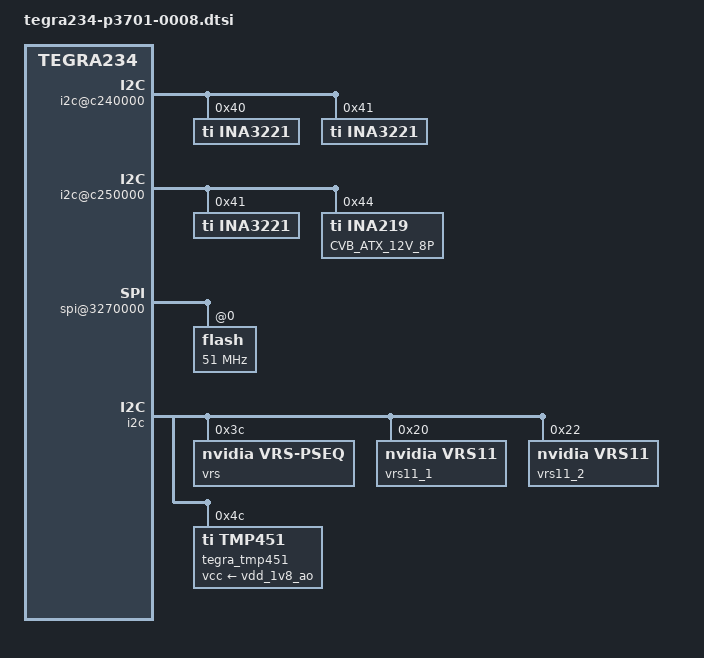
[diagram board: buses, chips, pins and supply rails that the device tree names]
// SPDX-License-Identifier: GPL-2.0-only
// Copyright (c) 2023, NVIDIA CORPORATION & AFFILIATES.  All rights reserved.

/ {
	fragment-t234-p3701-0008@0 {
		target-path = "/";
		__overlay__ {
			bus@0 {
				i2c@c240000 {
					ina3221@40 {
						compatible = "ti,ina3221";
						reg = <0x40>;
						#address-cells = <1>;
						#size-cells = <0>;
						#io-channel-cells = <1>;
						channel@0 {
							reg = <0x0>;
							label = "VDD_GPU_SOC";
							shunt-resistor-micro-ohms = <2000>;
						};
						channel@1 {
							reg = <0x1>;
							label = "VDD_CPU_CV";
							shunt-resistor-micro-ohms = <2000>;
						};
						channel@2 {
							reg = <0x2>;
							label = "VIN_SYS_5V0";
							shunt-resistor-micro-ohms = <2000>;
							summation-bypass;
						};
					};

					ina3221@41 {
						compatible = "ti,ina3221";
						reg = <0x41>;
						#address-cells = <1>;
						#size-cells = <0>;
						#io-channel-cells = <1>;
						channel@0 {
							reg = <0x0>;
							label = "NC";
						};
						channel@1 {
							reg = <0x1>;
							label = "VDDQ_VDD2_1V8AO";
							shunt-resistor-micro-ohms = <2000>;
						};
						channel@2 {
							reg = <0x2>;
							label = "NC";
						};
					};
				};

				i2c@c250000 {
					ina3221@41 {
						compatible = "ti,ina3221";
						reg = <0x41>;
						#address-cells = <1>;
						#size-cells = <0>;
						#io-channel-cells = <1>;
						channel@0 {
							reg = <0x0>;
							label = "CVB_ATX_12V";
							shunt-resistor-micro-ohms = <2000>;
						};
						channel@1 {
							reg = <0x1>;
							label = "CVB_ATX_3V3";
							shunt-resistor-micro-ohms = <2000>;
						};
						channel@2 {
							reg = <0x2>;
							label = "CVB_ATX_5V";
							shunt-resistor-micro-ohms = <2000>;
						};
					};

					 ina219@44 {
						compatible = "ti,ina219";
						reg = <0x44>;
						shunt-resistor = <2000>;
						label = "CVB_ATX_12V_8P";
					};
				};

				spi@3270000 {
					flash@0 {
						spi-max-frequency = <51000000>;
						spi-tx-bus-width = <1>;
						spi-rx-bus-width = <1>;
					};
				};
			};

			bpmp {
				i2c {
					vrs@3c {
						compatible = "nvidia,vrs-pseq";
						reg = <0x3c>;
						interrupts = <GIC_SPI 209 IRQ_TYPE_LEVEL_HIGH>;
						interrupt-controller;
						#interrupt-cells = <3>;
						status = "okay";
					};

					vrs11_1@20 {
						compatible = "nvidia,vrs11";
						reg = <0x20>;
						rail-name-loopA = "GPU";
						rail-name-loopB = "CPU";
					};

					vrs11_2@22 {
						compatible = "nvidia,vrs11";
						reg = <0x22>;
						rail-name-loopA = "SOC";
						rail-name-loopB = "CV";
					};

					tegra_tmp451: thermal-sensor@4c {
						compatible = "ti,tmp451";
						reg = <0x4c>;
						vcc-supply = <&vdd_1v8_ao>;
						#thermal-sensor-cells = <1>;
						status = "okay";
					};

				};
			};

			eeprom-manager {
				bus@0 {
					i2c-bus = <&gen1_i2c>;
					eeprom@0 {
						slave-address = <0x50>;
						label = "cvm";
					};
				};
			};

			opp-table-cluster0 {
				opp-1971200000 {
					opp-hz = /bits/ 64 <1971200000>;
					opp-peak-kBps = <3200000>;
				};
			};

			opp-table-cluster1 {
				opp-1971200000 {
					opp-hz = /bits/ 64 <1971200000>;
					opp-peak-kBps = <3200000>;
				};
			};

			opp-table-cluster2 {
				opp-1971200000 {
					opp-hz = /bits/ 64 <1971200000>;
					opp-peak-kBps = <3200000>;
				};
			};

			thermal-zones {
				tboard-thermal {
					polling-delay = <1000>;
					polling-delay-passive = <1000>;
					thermal-sensors = <&tegra_tmp451 0>;
					status = "okay";
				};

				tdiode-thermal {
					polling-delay = <1000>;
					polling-delay-passive = <1000>;
					thermal-sensors = <&tegra_tmp451 1>;
					status = "okay";
				};
			};
		};
	};
};
